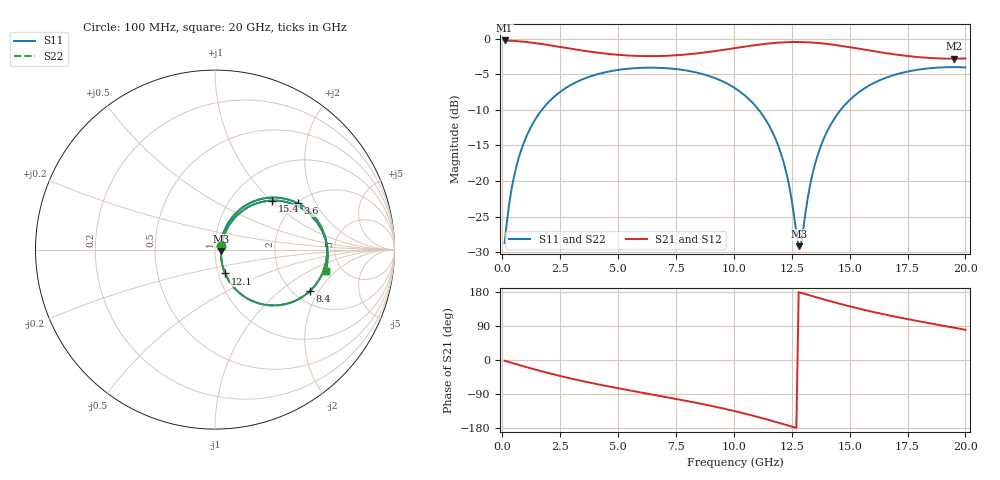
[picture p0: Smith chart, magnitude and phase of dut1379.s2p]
! Touchstone file exported from HFSS 2026.1.0
!  File:  C:/ffzhzh/LocalFiles/Ansys_Project_Files/temp_train_TSV_RDL_1379_1783347725_46376.aedt
!  Generated:  10:39:30 PM Jul  6, 2026
!  Design:  TSV_RDL
!  Project:  temp_train_TSV_RDL_1379_1783347725_46376
! Variables:
!  h_bsmrdl = 3.22um
!  h_ox = 20um
!  h_rdl = 5um
!  h_sub = 53.39um
!  h_tmrdl = 5.59um
!  h_tsv = 53.39um
!  h_via = 3um
!  l_bsmrdl = 838.52um
!  l_sub = 4913.51um
!  l_tmrdl = 475.48um
!  m_sub = 200um
!  pitch = 50.55um
!  r_tsv = 14.49um
!  s_tmrdl = 10um
!  w_bsmrdl = 11.38um
!  w_sub = 500um
!  w_tmrdl = 20.63um
!  x_tsv_center1 = 485.795um
!  x_tsv_center2 = 1335.695um
!  x_tsv_center3 = 1831.805um
!  x_tsv_center4 = 2681.705um
!  x_tsv_center5 = 3177.815um
!  x_tsv_center6 = 4027.715um
# GHz S MA R 50.000000
! Terminal data exported
! Port[1] = TM_RDL1_1_T1
! Port[2] = TM_RDL5_1_T1
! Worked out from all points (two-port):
!   200 points, 100 MHz to 20 GHz, reference 50 ohm
!   highest |S21| = -0.27 dB at 100 MHz (marker M1); lowest = -2.8 dB at 19.5 GHz (marker M2)
!   |S21| within 3 dB of the highest: start of sweep to end of sweep
!   lowest |S11| = -29.2 dB at 12.8 GHz (marker M3), VSWR 1.07, Z = 53.5 - j0.949 ohm
!   |S11| at or under -10 dB: start of sweep to 1.713 GHz; 11.07 GHz to 14.62 GHz (3.548 GHz wide, 27.6 % of centre)
!   |S22| runs from -29.2 to -4.0 dB; largest |S21 - S12| = 1.7e-14
!   S11 on the Smith chart (normalised r, x): 100 MHz: 1.06, +0.04; 3.6 GHz: 2.02, +1.44; 8.4 GHz: 2.42, -1.68; 12.1 GHz: 1.08, -0.29; 15.4 GHz: 1.53, +1.01; 20 GHz: 3.76, -1.46
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0.1  0.03669 33.1  0.9697 -1.9  0.9697 -1.9  0.03669 33.1
! Gamma 0 0 0 0
! Port Impedance 50 0 50 0
0.3  0.06934 57.6  0.9669 -5.6  0.9669 -5.6  0.06934 57.6
0.5  0.1063 63.2  0.9627 -9.2  0.9627 -9.2  0.1063 63.2
1.1  0.2158 61.3  0.9433 -19.8  0.9433 -19.8  0.2158 61.3
2.1  0.3718 48.6  0.8948 -36.2  0.8948 -36.2  0.3719 48.6
3.5  0.5202 30.5  0.822 -56.1  0.822 -56.1  0.5202 30.5
3.6  0.5279 29.2  0.8175 -57.4  0.8175 -57.4  0.5279 29.2
5.2  0.6081 10.9  0.7644 -76.8  0.7644 -76.8  0.6081 10.9
6.8  0.6228 -6.1  0.7541 -94.6  0.7541 -94.6  0.6228 -6.1
8.4  0.5767 -23.7  0.7867 -113.2  0.7867 -113.2  0.5767 -23.7
10.1  0.4429 -44.5  0.8595 -135.9  0.8595 -135.9  0.4429 -44.6
11.3  0.2808 -60.2  0.9153 -154.7  0.9153 -154.7  0.2808 -60.3
12.1  0.1442 -66.9  0.9398 -168.5  0.9398 -168.5  0.1441 -67.0
12.4  0.09054 -63.6  0.9443 -173.8  0.9443 -173.8  0.09047 -63.8
12.8  0.03486 -14.7  0.9456 179.0  0.9456 179.0  0.03464 -14.9
12.9  0.03615 14.9  0.9451 177.3  0.9451 177.3  0.03592 15.0
13.4  0.1124 59.2  0.9373 168.3  0.9373 168.3  0.1123 59.3
14.2  0.2511 55.7  0.9095 154.5  0.9095 154.5  0.2511 55.7
15.4  0.42 40.6  0.8486 135.6  0.8486 135.6  0.42 40.5
16.7  0.5402 24.5  0.7842 117.8  0.7842 117.8  0.5401 24.5
19.5  0.6301 -5.7  0.7224 85.3  0.7224 85.3  0.6301 -5.8
20  0.6272 -10.9  0.7245 79.8  0.7245 79.8  0.6272 -10.9
